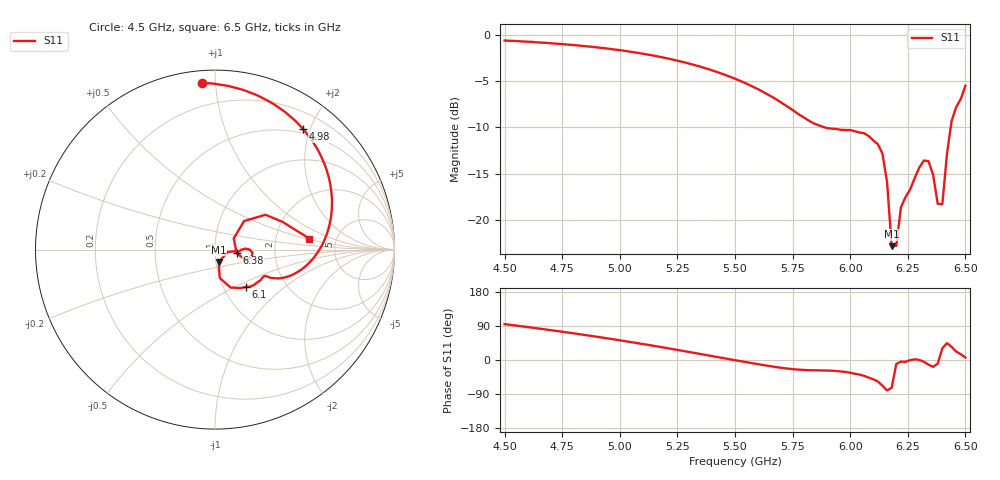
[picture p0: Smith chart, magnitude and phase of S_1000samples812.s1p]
! TOUCHSTONE file generated by CST MICROWAVE STUDIO
! Date and time: Sat Oct 29 11:39:04 2022
! Project name: L.cst
! Parameters = {Di=1.27; Epsilon_r=1.56; InnerDiameter=1.27; Length=2; Lf=10; Lg=60; OuterConductorThickness=0.2921; OuterDiameter=3.6; Wf=3; Wp=41.2; de=1.5; df=6.8; g=0.8; gx=3.65547; gy=4.83924; h=2.34; hf=1.524; px=14.6052; py=13.3885; w=9.7; wx=10.9498; wy=8.54924}
! Header version: 2018
! Port assignment regex: !\s*Touchstone port\s*([0-9]+)\s*=\s*(CST MWS port|CST DS port)\s*([0-9]+|Zmin|Zmax)\s*\(\"(.*)\"\)(\s*mode\s*([0-9]+))?.*
! Touchstone port assignment:
! Touchstone port 1 = CST MWS port 1 ("")
# GHz S DB R 50
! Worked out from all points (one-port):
!   101 points, 4.5 GHz to 6.5 GHz, reference 50 ohm
!   lowest |S11| = -22.8 dB at 6.18 GHz (marker M1), VSWR 1.16, Z = 51.6 - j7.19 ohm
!   |S11| at or under -10 dB: 5.89 GHz to 6.436 GHz (546.2 MHz wide, 8.86 % of centre)
!   S11 on the Smith chart (normalised r, x): 4.5 GHz: 0.07, +0.92; 4.98 GHz: 0.43, +1.89; 6.1 GHz: 1.27, -0.57; 6.38 GHz: 1.27, -0.05; 6.5 GHz: 3.15, +0.54
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4.5  -0.61 94.6
4.76  -1.03 73.7
4.98  -1.60 53.9
5  -1.66 52.0
5.14  -2.22 38.1
5.26  -2.85 25.6
5.38  -3.68 12.6
5.5  -4.75 -0.5
5.64  -6.42 -15.0
5.76  -8.30 -24.7
5.88  -9.92 -27.7
6  -10.28 -33.6
6.1  -11.40 -50.8
6.14  -12.83 -67.7
6.16  -15.90 -80.4
6.18  -22.82 -73.3
6.2  -22.78 -10.7
6.22  -18.64 -4.3
6.26  -16.72 -0.5
6.3  -14.33 0.2
6.32  -13.57 -4.8
6.34  -13.65 -12.3
6.36  -15.13 -18.0
6.38  -18.25 -9.5
6.4  -18.29 30.9
6.42  -12.87 44.5
6.44  -9.32 34.6
6.5  -5.51 6.6
